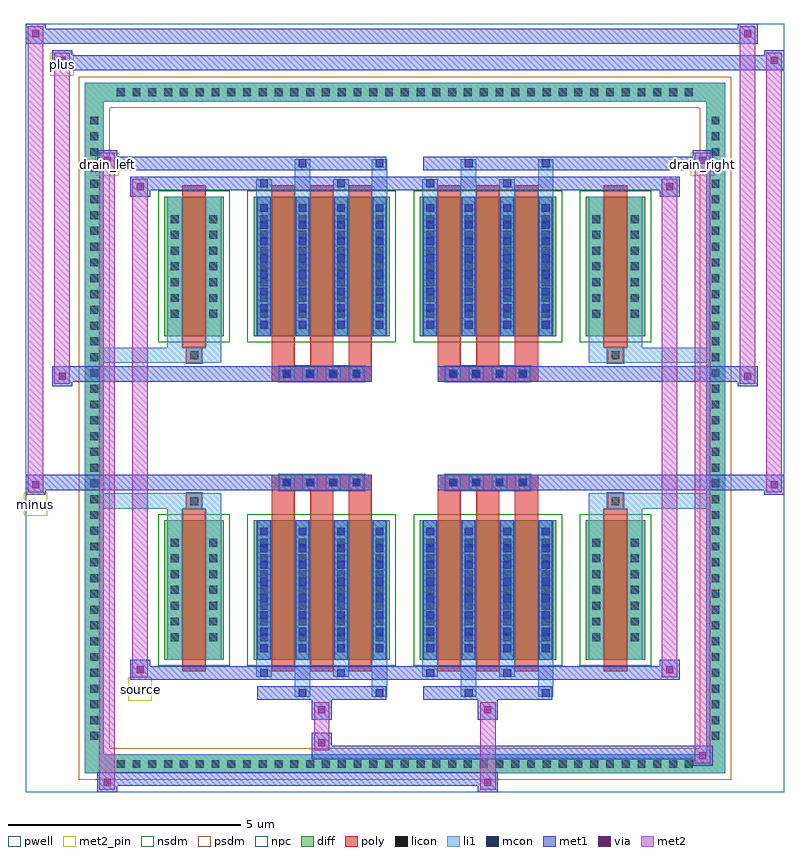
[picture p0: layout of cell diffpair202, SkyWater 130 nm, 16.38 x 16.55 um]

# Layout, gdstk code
import gdstk
lib = gdstk.Library(unit=1e-6, precision=5e-09)
def R(c, l, rs):  # rectangles x0, y0, x1, y1
    for r in rs: c.add(gdstk.rectangle(r[:2], r[2:], *l))
def A(c, l, x, y, w, h, nx, ny, dx, dy):  # array of equal rectangles
    R(c, l, [(x+i*dx, y+j*dy, x+i*dx+w, y+j*dy+h) for i in range(nx) for j in range(ny)])
def P(c, l, *ps):  # polygons
    for p in ps: c.add(gdstk.Polygon(p, *l))
pwell = (64, 44)
diff = (65, 20)
poly = (66, 20)
licon = (66, 44)
li1 = (67, 20)
mcon = (67, 44)
met1 = (68, 20)
via = (68, 44)
met2_pin = (69, 16)
met2 = (69, 20)
nsdm = (93, 44)
psdm = (94, 20)
npc = (95, 20)

diffpair202 = lib.new_cell('diffpair202')
R(diffpair202, pwell, [(-8.17,-7.84,8.17,8.71), (-5.49,-6.03,-0.01,-0.805), (0.01,-6.03,5.49,-0.805), (-5.49,0.805,-0.01,6.03), (0.01,0.805,5.49,6.03)])
A(diffpair202, diff, -6.325, -7.44, 0.41, 0.41, 37, 2, 0.34, 14.47)
A(diffpair202, diff, -6.9, -6.835, 0.41, 0.41, 1, 40, 0, 0.34)
A(diffpair202, diff, 6.49, -6.835, 0.41, 0.41, 1, 40, 0, 0.34)
R(diffpair202, diff, [(-6.325,-7.44,6.325,-7.03), (-6.9,-6.835,-6.49,6.835), (6.49,-6.835,6.9,6.835), (-5.18,-4.985,-3.9,-1.985), (-3.26,-4.985,-0.32,-1.985), (0.32,-4.985,3.26,-1.985), (3.9,-4.985,5.18,-1.985), (-5.18,1.985,-3.9,4.985), (-3.26,1.985,-0.32,4.985), (0.32,1.985,3.26,4.985), (3.9,1.985,5.18,4.985), (-6.325,7.03,6.325,7.44)])
P(diffpair202, diff, [(6.9,7.44),(-6.9,7.44),(-6.9,-7.03),(-6.49,-7.03),(-6.49,7.03),(6.49,7.03),(6.49,-7.03),(-6.49,-7.03),(-6.9,-7.03),(-6.9,-7.44),(6.9,-7.44)])
A(diffpair202, poly, -2.87, -5.235, 0.5, 3.5, 3, 2, 0.83, 6.97)
A(diffpair202, poly, 0.71, -5.235, 0.5, 3.5, 3, 2, 0.83, 6.97)
A(diffpair202, poly, -2.87, -1.735, 0.5, 0.4, 3, 2, 0.83, 3.07)
A(diffpair202, poly, 0.71, -1.735, 0.5, 0.4, 3, 2, 0.83, 3.07)
A(diffpair202, poly, -2.705, -1.335, 0.33, 0.33, 4, 2, 0.5, 2.34)
A(diffpair202, poly, 0.875, -1.335, 0.33, 0.33, 4, 2, 0.5, 2.34)
R(diffpair202, poly, [(-4.79,-5.235,-4.29,-1.735), (4.29,-5.235,4.79,-1.735), (-4.705,-1.735,-4.375,-1.405), (-4.705,-1.735,-4.375,-1.405), (4.375,-1.735,4.705,-1.405), (4.375,-1.735,4.705,-1.405), (-2.87,-1.335,-0.71,-1.005), (0.71,-1.335,2.87,-1.005), (-2.87,1.005,-0.71,1.335), (0.71,1.005,2.87,1.335), (-4.705,1.405,-4.375,1.735), (-4.705,1.405,-4.375,1.735), (4.375,1.405,4.705,1.735), (4.375,1.405,4.705,1.735), (-4.79,1.735,-4.29,5.235), (4.29,1.735,4.79,5.235)])
A(diffpair202, licon, -6.205, -7.32, 0.17, 0.17, 37, 2, 0.34, 14.47)
A(diffpair202, licon, -6.78, -6.715, 0.17, 0.17, 1, 40, 0, 0.34)
A(diffpair202, licon, 6.61, -6.715, 0.17, 0.17, 1, 40, 0, 0.34)
A(diffpair202, licon, -5.04, -4.59, 0.17, 0.17, 1, 7, 0, 0.34)
A(diffpair202, licon, -4.21, -4.59, 0.17, 0.17, 1, 7, 0, 0.34)
A(diffpair202, licon, -3.12, -4.59, 0.17, 0.17, 4, 7, 0.83, 0.34)
A(diffpair202, licon, 0.46, -4.59, 0.17, 0.17, 4, 7, 0.83, 0.34)
A(diffpair202, licon, 4.04, -4.59, 0.17, 0.17, 1, 7, 0, 0.34)
A(diffpair202, licon, 4.87, -4.59, 0.17, 0.17, 1, 7, 0, 0.34)
A(diffpair202, licon, -2.625, -1.255, 0.17, 0.17, 4, 2, 0.5, 2.34)
A(diffpair202, licon, 0.955, -1.255, 0.17, 0.17, 4, 2, 0.5, 2.34)
A(diffpair202, licon, -5.04, 2.38, 0.17, 0.17, 1, 7, 0, 0.34)
A(diffpair202, licon, -4.21, 2.38, 0.17, 0.17, 1, 7, 0, 0.34)
A(diffpair202, licon, -3.12, 2.38, 0.17, 0.17, 4, 7, 0.83, 0.34)
A(diffpair202, licon, 0.46, 2.38, 0.17, 0.17, 4, 7, 0.83, 0.34)
A(diffpair202, licon, 4.04, 2.38, 0.17, 0.17, 1, 7, 0, 0.34)
A(diffpair202, licon, 4.87, 2.38, 0.17, 0.17, 1, 7, 0, 0.34)
R(diffpair202, licon, [(-4.625,-1.655,-4.455,-1.485), (4.455,-1.655,4.625,-1.485), (-4.625,1.485,-4.455,1.655), (4.455,1.485,4.625,1.655)])
A(diffpair202, li1, -6.285, -7.4, 0.33, 0.33, 37, 2, 0.34, 14.47)
A(diffpair202, li1, -6.86, -6.795, 0.33, 0.33, 1, 40, 0, 0.34)
A(diffpair202, li1, 6.53, -6.795, 0.33, 0.33, 1, 40, 0, 0.34)
A(diffpair202, li1, -3.2, -4.985, 0.33, 3, 4, 2, 0.83, 6.97)
A(diffpair202, li1, 0.38, -4.985, 0.33, 3, 4, 2, 0.83, 6.97)
A(diffpair202, li1, -3.12, -4.83, 0.17, 0.17, 4, 8, 0.83, 0.36)
A(diffpair202, li1, -3.12, -4.83, 0.17, 2.69, 4, 2, 0.83, 6.97)
A(diffpair202, li1, 0.46, -4.83, 0.17, 0.17, 4, 8, 0.83, 0.36)
A(diffpair202, li1, 0.46, -4.83, 0.17, 2.69, 4, 2, 0.83, 6.97)
A(diffpair202, li1, -5.12, -4.67, 0.33, 0.33, 1, 7, 0, 0.34)
A(diffpair202, li1, -4.29, -4.67, 0.33, 0.33, 1, 7, 0, 0.34)
A(diffpair202, li1, -3.2, -4.67, 0.33, 0.33, 4, 7, 0.83, 0.34)
A(diffpair202, li1, 0.38, -4.67, 0.33, 0.33, 4, 7, 0.83, 0.34)
A(diffpair202, li1, 3.96, -4.67, 0.33, 0.33, 1, 7, 0, 0.34)
A(diffpair202, li1, 4.79, -4.67, 0.33, 0.33, 1, 7, 0, 0.34)
A(diffpair202, li1, -2.705, -1.335, 0.33, 0.33, 4, 2, 0.5, 2.34)
A(diffpair202, li1, 0.875, -1.335, 0.33, 0.33, 4, 2, 0.5, 2.34)
A(diffpair202, li1, -3.12, 2.14, 0.17, 0.17, 4, 8, 0.83, 0.36)
A(diffpair202, li1, 0.46, 2.14, 0.17, 0.17, 4, 8, 0.83, 0.36)
A(diffpair202, li1, -5.12, 2.3, 0.33, 0.33, 1, 7, 0, 0.34)
A(diffpair202, li1, -4.29, 2.3, 0.33, 0.33, 1, 7, 0, 0.34)
A(diffpair202, li1, -3.2, 2.3, 0.33, 0.33, 4, 7, 0.83, 0.34)
A(diffpair202, li1, 0.38, 2.3, 0.33, 0.33, 4, 7, 0.83, 0.34)
A(diffpair202, li1, 3.96, 2.3, 0.33, 0.33, 1, 7, 0, 0.34)
A(diffpair202, li1, 4.79, 2.3, 0.33, 0.33, 1, 7, 0, 0.34)
R(diffpair202, li1, [(-6.9,-7.44,-6.49,-7.03), (-6.9,-7.44,-6.49,-7.03), (-6.49,-7.44,6.49,-7.03), (6.49,-7.44,6.9,-7.03), (6.49,-7.44,6.9,-7.03), (-6.9,-7.03,-6.49,7.03), (6.49,-7.03,6.9,7.03), (-2.37,-5.79,-2.04,-4.985), (-2.29,-5.79,-2.12,-5.62), (-0.71,-5.79,-0.38,-4.985), (-0.63,-5.79,-0.46,-5.62), (1.21,-5.79,1.54,-4.985), (1.29,-5.79,1.46,-5.62), (2.87,-5.79,3.2,-4.985), (2.95,-5.79,3.12,-5.62), (-3.2,-5.36,-2.87,-4.985), (-3.12,-5.36,-2.95,-5.19), (-1.54,-5.36,-1.21,-4.985), (-1.46,-5.36,-1.29,-5.19), (0.38,-5.36,0.71,-4.985), (0.46,-5.36,0.63,-5.19), (2.04,-5.36,2.37,-4.985), (2.12,-5.36,2.29,-5.19), (-5.12,-4.985,-4.79,-1.985), (-4.29,-4.985,-3.96,-1.985), (3.96,-4.985,4.29,-1.985), (4.79,-4.985,5.12,-1.985), (-5.12,-1.985,-4.79,-1.405), (-4.29,-1.985,-3.96,-1.405), (3.96,-1.985,4.29,-1.405), (4.79,-1.985,5.12,-1.405), (-6.9,-1.735,-4.705,-1.405), (-5.12,-1.735,-4.705,-1.405), (-4.705,-1.735,-4.375,-1.405), (-4.375,-1.735,-3.96,-1.405), (3.96,-1.735,4.375,-1.405), (4.375,-1.735,4.705,-1.405), (4.375,-1.735,6.9,-1.405), (4.705,-1.735,5.12,-1.405), (-6.9,1.405,-4.705,1.735), (-5.12,1.405,-4.705,1.735), (-5.12,1.405,-4.79,1.985), (-4.705,1.405,-4.375,1.735), (-4.375,1.405,-3.96,1.735), (-4.29,1.405,-3.96,1.985), (3.96,1.405,4.375,1.735), (3.96,1.405,4.29,1.985), (4.375,1.405,4.705,1.735), (4.375,1.405,6.9,1.735), (4.705,1.405,5.12,1.735), (4.79,1.405,5.12,1.985), (-5.12,1.985,-4.79,4.985), (-4.29,1.985,-3.96,4.985), (3.96,1.985,4.29,4.985), (4.79,1.985,5.12,4.985), (-3.2,4.985,-2.87,5.36), (-2.37,4.985,-2.04,5.79), (-1.54,4.985,-1.21,5.36), (-0.71,4.985,-0.38,5.79), (0.38,4.985,0.71,5.36), (1.21,4.985,1.54,5.79), (2.04,4.985,2.37,5.36), (2.87,4.985,3.2,5.79), (-3.12,5.19,-2.95,5.36), (-1.46,5.19,-1.29,5.36), (0.46,5.19,0.63,5.36), (2.12,5.19,2.29,5.36), (-2.29,5.62,-2.12,5.79), (-0.63,5.62,-0.46,5.79), (1.29,5.62,1.46,5.79), (2.95,5.62,3.12,5.79), (-6.9,7.03,-6.49,7.44), (-6.9,7.03,-6.49,7.44), (-6.49,7.03,6.49,7.44), (6.49,7.03,6.9,7.44), (6.49,7.03,6.9,7.44)])
A(diffpair202, mcon, -3.12, -4.83, 0.17, 0.17, 4, 8, 0.83, 0.36)
A(diffpair202, mcon, 0.46, -4.83, 0.17, 0.17, 4, 8, 0.83, 0.36)
A(diffpair202, mcon, -2.625, -1.255, 0.17, 0.17, 4, 2, 0.5, 2.34)
A(diffpair202, mcon, 0.955, -1.255, 0.17, 0.17, 4, 2, 0.5, 2.34)
A(diffpair202, mcon, -3.12, 2.14, 0.17, 0.17, 4, 8, 0.83, 0.36)
A(diffpair202, mcon, 0.46, 2.14, 0.17, 0.17, 4, 8, 0.83, 0.36)
R(diffpair202, mcon, [(-2.29,-5.79,-2.12,-5.62), (-0.63,-5.79,-0.46,-5.62), (1.29,-5.79,1.46,-5.62), (2.95,-5.79,3.12,-5.62), (-3.12,-5.36,-2.95,-5.19), (-1.46,-5.36,-1.29,-5.19), (0.46,-5.36,0.63,-5.19), (2.12,-5.36,2.29,-5.19), (-3.12,5.19,-2.95,5.36), (-1.46,5.19,-1.29,5.36), (0.46,5.19,0.63,5.36), (2.12,5.19,2.29,5.36), (-2.29,5.62,-2.12,5.79), (-0.63,5.62,-0.46,5.79), (1.29,5.62,1.46,5.79), (2.95,5.62,3.12,5.79)])
A(diffpair202, met1, -3.18, -4.985, 0.29, 3, 4, 2, 0.83, 6.97)
A(diffpair202, met1, 0.4, -4.985, 0.29, 3, 4, 2, 0.83, 6.97)
A(diffpair202, met1, -3.18, -4.89, 0.29, 0.29, 4, 8, 0.83, 0.36)
A(diffpair202, met1, 0.4, -4.89, 0.29, 0.29, 4, 8, 0.83, 0.36)
A(diffpair202, met1, -2.685, -1.315, 0.29, 0.29, 4, 2, 0.5, 2.34)
A(diffpair202, met1, 0.895, -1.315, 0.29, 0.29, 4, 2, 0.5, 2.34)
A(diffpair202, met1, -3.18, 2.08, 0.29, 0.29, 4, 8, 0.83, 0.36)
A(diffpair202, met1, 0.4, 2.08, 0.29, 0.29, 4, 8, 0.83, 0.36)
R(diffpair202, met1, [(-6.63,-7.84,-6.2,-7.41), (1.575,-7.84,2.005,-7.41), (-6.63,-7.7,2.005,-7.41), (6.2,-7.27,6.63,-6.84), (-2.005,-7.13,6.63,-6.84), (-2.005,-6.99,-1.575,-6.56), (-2.005,-6.28,-1.575,-5.85), (1.575,-6.28,2.005,-5.85), (-3.18,-5.85,-0.4,-5.56), (-2.35,-5.85,-2.06,-5.56), (-0.69,-5.85,-0.4,-5.56), (0.4,-5.85,3.18,-5.56), (1.23,-5.85,1.52,-5.56), (2.89,-5.85,3.18,-5.56), (-5.92,-5.42,-5.49,-4.99), (-5.92,-5.42,-3.18,-5.13), (-3.18,-5.42,-2.89,-5.13), (-3.18,-5.42,-0.4,-5.13), (-1.52,-5.42,-1.23,-5.13), (-0.4,-5.42,0.4,-5.13), (0.4,-5.42,0.69,-5.13), (0.4,-5.42,3.18,-5.13), (2.06,-5.42,2.35,-5.13), (3.18,-5.42,5.92,-5.13), (5.49,-5.42,5.92,-4.99), (-8.17,-1.435,-7.74,-1.005), (7.74,-1.435,8.17,-1.005), (-8.17,-1.335,-0.71,-1.005), (-2.87,-1.335,-0.71,-1.005), (0.71,-1.335,2.87,-1.005), (0.71,-1.335,8.17,-1.005), (-7.6,0.905,-7.17,1.335), (7.17,0.905,7.6,1.335), (-7.6,1.005,-2.87,1.335), (-2.87,1.005,-0.71,1.335), (0.71,1.005,2.87,1.335), (2.87,1.005,7.6,1.335), (-5.92,4.99,-5.49,5.42), (5.49,4.99,5.92,5.42), (-5.92,5.13,-3.18,5.42), (-3.18,5.13,-2.89,5.42), (-3.18,5.13,-0.4,5.42), (-1.52,5.13,-1.23,5.42), (-0.4,5.13,0.4,5.42), (0.4,5.13,0.69,5.42), (0.4,5.13,3.18,5.42), (2.06,5.13,2.35,5.42), (3.18,5.13,5.92,5.42), (-6.63,5.56,-6.2,5.99), (-6.63,5.56,-3.18,5.85), (-3.18,5.56,-0.4,5.85), (-2.35,5.56,-2.06,5.85), (-0.69,5.56,-0.4,5.85), (0.4,5.56,3.18,5.85), (1.23,5.56,1.52,5.85), (2.89,5.56,3.18,5.85), (3.18,5.56,6.63,5.85), (6.2,5.56,6.63,5.99), (-7.6,7.71,-7.17,8.14), (-7.6,7.71,-5.49,8.04), (-5.49,7.71,5.49,8.04), (5.49,7.71,8.17,8.04), (7.74,7.71,8.17,8.14), (-8.17,8.28,-7.74,8.71), (-8.17,8.28,-5.49,8.61), (-5.49,8.28,5.49,8.61), (5.49,8.28,7.6,8.61), (7.17,8.28,7.6,8.71)])
R(diffpair202, via, [(-6.49,-7.7,-6.34,-7.55), (1.715,-7.7,1.865,-7.55), (6.34,-7.13,6.49,-6.98), (-1.865,-6.85,-1.715,-6.7), (-1.865,-6.14,-1.715,-5.99), (1.715,-6.14,1.865,-5.99), (-5.78,-5.28,-5.63,-5.13), (5.63,-5.28,5.78,-5.13), (-8.03,-1.295,-7.88,-1.145), (7.88,-1.295,8.03,-1.145), (-7.46,1.045,-7.31,1.195), (7.31,1.045,7.46,1.195), (-5.78,5.13,-5.63,5.28), (5.63,5.13,5.78,5.28), (-6.49,5.7,-6.34,5.85), (6.34,5.7,6.49,5.85), (-7.46,7.85,-7.31,8), (7.88,7.85,8.03,8), (-8.03,8.42,-7.88,8.57), (7.31,8.42,7.46,8.57)])
R(diffpair202, met2_pin, [(-5.955,-5.87,-5.455,-5.37), (-8.205,-1.885,-7.705,-1.385), (-6.665,5.44,-6.165,5.94), (6.165,5.44,6.665,5.94), (-7.635,7.59,-7.135,8.09)])
R(diffpair202, met2, [(-6.58,-7.79,-6.25,-7.46), (-6.58,-7.79,-6.25,5.94), (1.625,-7.79,1.955,-7.46), (1.625,-7.46,1.955,-6.23), (6.25,-7.22,6.58,-6.89), (6.25,-7.22,6.58,5.94), (-1.955,-6.94,-1.625,-6.61), (-1.955,-6.61,-1.625,-6.23), (-1.955,-6.23,-1.625,-5.9), (1.625,-6.23,1.955,-5.9), (-5.87,-5.37,-5.54,-5.04), (-5.87,-5.37,-5.54,5.37), (5.54,-5.37,5.87,-5.04), (5.54,-5.37,5.87,5.37), (-8.12,-1.385,-7.79,-1.055), (-8.12,-1.385,-7.79,8.66), (7.79,-1.385,8.12,-1.055), (7.79,-1.385,8.12,8.09), (-7.55,0.955,-7.22,1.285), (-7.55,0.955,-7.22,8.09), (7.22,0.955,7.55,1.285), (7.22,0.955,7.55,8.66), (-5.87,5.04,-5.54,5.37), (5.54,5.04,5.87,5.37), (-6.58,5.61,-6.25,5.94), (6.25,5.61,6.58,5.94), (-7.55,7.76,-7.22,8.09), (7.79,7.76,8.12,8.09), (-8.12,8.33,-7.79,8.66), (7.22,8.33,7.55,8.66)])
P(diffpair202, met2, [(8.12,-1.385),(8.12,-1.385),(8.12,-1.055),(8.12,-1.055)],
  [(8.12,7.76),(8.12,7.76),(8.12,8.09),(8.12,8.09)],
  [(-7.79,-1.385),(-7.79,-1.385),(-7.79,-1.055),(-7.79,-1.055)],
  [(-7.79,8.33),(-7.79,8.33),(-7.79,8.66),(-7.79,8.66)],
  [(7.55,0.955),(7.55,0.955),(7.55,1.285),(7.55,1.285)],
  [(7.55,8.33),(7.55,8.33),(7.55,8.66),(7.55,8.66)],
  [(-7.22,0.955),(-7.22,0.955),(-7.22,1.285),(-7.22,1.285)],
  [(-7.22,7.76),(-7.22,7.76),(-7.22,8.09),(-7.22,8.09)],
  [(-6.25,-7.79),(-6.25,-7.79),(-6.25,-7.46),(-6.25,-7.46)],
  [(-6.25,5.61),(-6.25,5.61),(-6.25,5.94),(-6.25,5.94)],
  [(6.58,-7.22),(6.58,-7.22),(6.58,-6.89),(6.58,-6.89)],
  [(6.58,5.61),(6.58,5.61),(6.58,5.94),(6.58,5.94)],
  [(-5.54,-5.37),(-5.54,-5.37),(-5.54,-5.04),(-5.54,-5.04)],
  [(-5.54,5.04),(-5.54,5.04),(-5.54,5.37),(-5.54,5.37)],
  [(5.87,-5.37),(5.87,-5.37),(5.87,-5.04),(5.87,-5.04)],
  [(5.87,5.04),(5.87,5.04),(5.87,5.37),(5.87,5.37)])
R(diffpair202, nsdm, [(-5.31,-5.115,-3.77,-1.855), (-3.39,-5.115,-0.19,-1.855), (0.19,-5.115,3.39,-1.855), (3.77,-5.115,5.31,-1.855), (-5.31,1.855,-3.77,5.115), (-3.39,1.855,-0.19,5.115), (0.19,1.855,3.39,5.115), (3.77,1.855,5.31,5.115)])
P(diffpair202, psdm, [(7.03,7.57),(-7.03,7.57),(-7.03,-6.9),(-6.36,-6.9),(-6.36,6.9),(6.36,6.9),(6.36,-6.9),(-6.36,-6.9),(-7.03,-6.9),(-7.03,-7.57),(7.03,-7.57)])
A(diffpair202, npc, -2.725, -1.355, 0.37, 0.37, 4, 2, 0.5, 2.34)
A(diffpair202, npc, 0.855, -1.355, 0.37, 0.37, 4, 2, 0.5, 2.34)
R(diffpair202, npc, [(-4.725,-1.755,-4.355,-1.385), (4.355,-1.755,4.725,-1.385), (-2.725,-1.355,-1.855,-0.985), (-2.725,-1.355,-1.855,-0.985), (-2.225,-1.355,-1.355,-0.985), (-2.225,-1.355,-1.355,-0.985), (-1.725,-1.355,-0.855,-0.985), (-1.725,-1.355,-0.855,-0.985), (0.855,-1.355,1.725,-0.985), (0.855,-1.355,1.725,-0.985), (1.355,-1.355,2.225,-0.985), (1.355,-1.355,2.225,-0.985), (1.855,-1.355,2.725,-0.985), (1.855,-1.355,2.725,-0.985), (-2.725,0.985,-1.855,1.355), (-2.725,0.985,-1.855,1.355), (-2.225,0.985,-1.355,1.355), (-2.225,0.985,-1.355,1.355), (-1.725,0.985,-0.855,1.355), (-1.725,0.985,-0.855,1.355), (0.855,0.985,1.725,1.355), (0.855,0.985,1.725,1.355), (1.355,0.985,2.225,1.355), (1.355,0.985,2.225,1.355), (1.855,0.985,2.725,1.355), (1.855,0.985,2.725,1.355), (-4.725,1.385,-4.355,1.755), (4.355,1.385,4.725,1.755)])
diffpair202.add(gdstk.Label('minus', (-7.955,-1.635), layer=69, texttype=5))
diffpair202.add(gdstk.Label('drain_right', (6.415,5.69), layer=69, texttype=5))
diffpair202.add(gdstk.Label('drain_left', (-6.415,5.69), layer=69, texttype=5))
diffpair202.add(gdstk.Label('source', (-5.705,-5.62), layer=69, texttype=5))
diffpair202.add(gdstk.Label('plus', (-7.385,7.84), layer=69, texttype=5))

lib.write_gds('diffpair202.gds')
